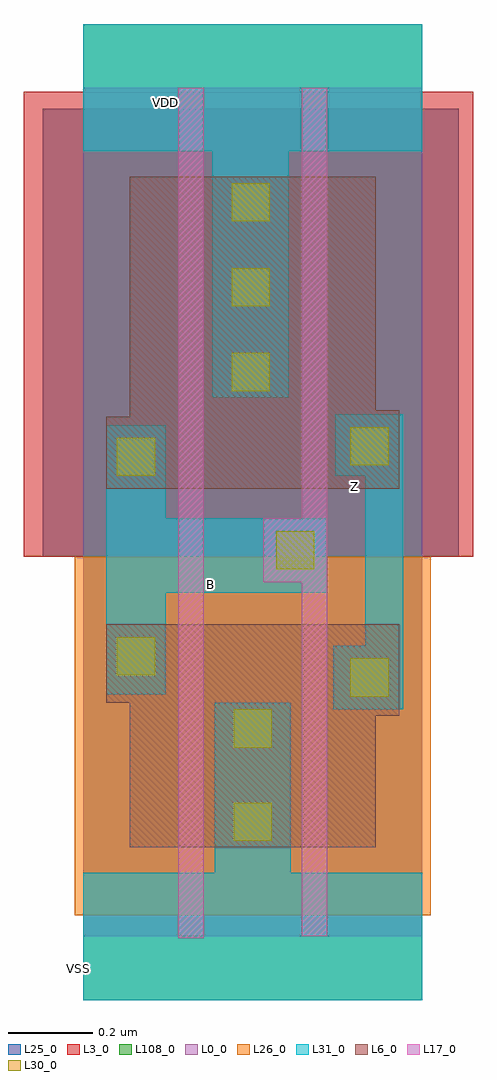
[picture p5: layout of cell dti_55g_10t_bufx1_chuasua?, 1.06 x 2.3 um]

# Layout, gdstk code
from math import pi, radians
import gdstk
lib = gdstk.Library(unit=1e-6, precision=1e-09)
def R(c, l, rs):  # rectangles x0, y0, x1, y1
    for r in rs: c.add(gdstk.rectangle(r[:2], r[2:], *l))
def P(c, l, *ps):  # polygons
    for p in ps: c.add(gdstk.Polygon(p, *l))
L0_0 = (0, 0)
L3_0 = (3, 0)
L6_0 = (6, 0)
L17_0 = (17, 0)
L25_0 = (25, 0)
L26_0 = (26, 0)
L30_0 = (30, 0)
L31_0 = (31, 0)
L108_0 = (108, 0)
L923_0 = (923, 0)

template_55g_10t_1 = lib.new_cell('template_55g_10t$1')
R(template_55g_10t_1, L31_0, [(0,-0.15,0.2,0.15), (0,1.85,0.2,2.15)])
template_55g_10t_1.add(gdstk.FlexPath([(0.2,0.21),(0,0.21)], 0, ends="flush", simple_path=True, layer=923, datatype=0))  # L923_0
template_55g_10t_1.add(gdstk.FlexPath([(0.2,0.735),(0,0.735)], 0, ends="flush", simple_path=True, layer=923, datatype=0))  # L923_0
template_55g_10t_1.add(gdstk.FlexPath([(0.2,0.895),(0,0.895)], 0, ends="flush", simple_path=True, layer=923, datatype=0))  # L923_0
template_55g_10t_1.add(gdstk.FlexPath([(0.2,1.055),(0,1.055)], 0, ends="flush", simple_path=True, layer=923, datatype=0))  # L923_0
template_55g_10t_1.add(gdstk.FlexPath([(0.2,1.79),(0,1.79)], 0, ends="flush", simple_path=True, layer=923, datatype=0))  # L923_0

cellgrid_nom2_1 = lib.new_cell('cellgrid_noM2$1')
R(cellgrid_nom2_1, L0_0, [(0,0,0.2,0.2)])
cellgrid_nom2_1.add(gdstk.FlexPath([(0.2,0),(0,0.2)], 0, ends="flush", simple_path=True, layer=0, datatype=0))  # L0_0
cellgrid_nom2_1.add(gdstk.FlexPath([(0.2,0.2),(0,0)], 0, ends="flush", simple_path=True, layer=0, datatype=0))  # L0_0

pmos_735_n_2_1 = lib.new_cell('pmos_735_n_2$1')
R(pmos_735_n_2_1, L3_0, [(-0.275,-0.16,0.335,0.895)])
R(pmos_735_n_2_1, L6_0, [(-0.115,0,0.175,0.735)])
R(pmos_735_n_2_1, L17_0, [(0,-0.14,0.06,0.875)])
R(pmos_735_n_2_1, L25_0, [(-0.245,-0.16,0.305,0.895)])

cnt_n_1 = lib.new_cell('cnt_n$1')
R(cnt_n_1, L6_0, [(-0.06,-0.075,0.06,0.075)])
R(cnt_n_1, L30_0, [(-0.045,-0.045,0.045,0.045)])
R(cnt_n_1, L31_0, [(-0.045,-0.045,0.045,0.045)])

nmos_525_n_2_1 = lib.new_cell('nmos_525_n_2$1')
R(nmos_525_n_2_1, L6_0, [(-0.115,0,0.175,0.525)])
R(nmos_525_n_2_1, L17_0, [(0,-0.14,0.06,0.665)])
R(nmos_525_n_2_1, L26_0, [(-0.245,-0.16,0.305,0.685)])

cnt_1 = lib.new_cell('cnt$1')
R(cnt_1, L30_0, [(-0.045,-0.045,0.045,0.045)])
R(cnt_1, L31_0, [(-0.045,-0.045,0.045,0.045)])

pcnt_1 = lib.new_cell('pcnt$1')
R(pcnt_1, L0_0, [(-0.065,-0.065,0.065,0.065)])
R(pcnt_1, L17_0, [(-0.075,-0.075,0.075,0.075)])
pcnt_1.add(gdstk.Reference(cnt_1, (0,0)))

pmos_735_n_2 = lib.new_cell('pmos_735_n_2')
R(pmos_735_n_2, L3_0, [(-0.275,-0.16,0.335,0.895)])
R(pmos_735_n_2, L6_0, [(-0.115,0,0.175,0.735)])
R(pmos_735_n_2, L17_0, [(0,-0.14,0.06,0.875)])
R(pmos_735_n_2, L25_0, [(-0.245,-0.16,0.305,0.895)])

nmos_525_n_2 = lib.new_cell('nmos_525_n_2')
R(nmos_525_n_2, L6_0, [(-0.115,0,0.175,0.525)])
R(nmos_525_n_2, L17_0, [(0,-0.14,0.06,0.665)])
R(nmos_525_n_2, L26_0, [(-0.245,-0.16,0.305,0.685)])

cnt_n = lib.new_cell('cnt_n')
R(cnt_n, L6_0, [(-0.06,-0.075,0.06,0.075)])
R(cnt_n, L30_0, [(-0.045,-0.045,0.045,0.045)])
R(cnt_n, L31_0, [(-0.045,-0.045,0.045,0.045)])

dti_55g_10t_bufx1_chuasu = lib.new_cell('dti_55g_10t_bufx1_chuasua?')
R(dti_55g_10t_bufx1_chuasu, L3_0, [(-0.14,0.895,0.92,1.99)])
R(dti_55g_10t_bufx1_chuasu, L6_0, [(0.69,0.52,0.745,0.735), (0.055,0.55,0.11,0.735), (0.055,1.055,0.11,1.225), (0.69,1.055,0.745,1.24)])
P(dti_55g_10t_bufx1_chuasu, L6_0, [(0.7,1.12),(0.7,1.12),(0.73,1.12),(0.73,1.12)])
R(dti_55g_10t_bufx1_chuasu, L17_0, [(0.225,-0.005,0.285,0.07), (0.515,0,0.575,0.07), (0.225,0.875,0.285,0.915), (0.515,0.875,0.575,0.915), (0.225,1.93,0.285,2), (0.515,1.93,0.575,2)])
R(dti_55g_10t_bufx1_chuasu, L25_0, [(-0.095,0.895,0.885,1.95), (-0.06,0.895,0.66,1.95), (0,0.895,0.6,1.95)])
R(dti_55g_10t_bufx1_chuasu, L26_0, [(0,0.15,0.6,0.895)])
R(dti_55g_10t_bufx1_chuasu, L31_0, [(0.31,0.15,0.49,0.55), (0.59,0.535,0.755,0.685), (0.055,0.57,0.195,1.205), (0.665,0.655,0.755,1.1), (0.195,0.81,0.575,0.985), (0.595,1.085,0.755,1.23), (0.305,1.27,0.485,1.85)])
R(dti_55g_10t_bufx1_chuasu, L108_0, [(0,-0.15,0.8,2.15)])
r = gdstk.Reference(template_55g_10t_1, (0,0)); r.repetition = gdstk.Repetition(4, 1, v1=(0.2,0), v2=(0,0)); dti_55g_10t_bufx1_chuasu.add(r)
r = gdstk.Reference(cellgrid_nom2_1, (0,0)); r.repetition = gdstk.Repetition(4, 10, v1=(0.2,0), v2=(0,0.2)); dti_55g_10t_bufx1_chuasu.add(r)
dti_55g_10t_bufx1_chuasu.add(gdstk.Reference(pmos_735_n_2_1, (0.515,1.055)))
dti_55g_10t_bufx1_chuasu.add(gdstk.Reference(cnt_n_1, (0.395,1.73), rotation=pi/2))
dti_55g_10t_bufx1_chuasu.add(gdstk.Reference(cnt_n_1, (0.675,0.61), rotation=pi))
dti_55g_10t_bufx1_chuasu.add(gdstk.Reference(cnt_n_1, (0.395,1.53)))
dti_55g_10t_bufx1_chuasu.add(gdstk.Reference(nmos_525_n_2_1, (0.515,0.21)))
dti_55g_10t_bufx1_chuasu.add(gdstk.Reference(cnt_n_1, (0.4,0.27), rotation=pi/2))
dti_55g_10t_bufx1_chuasu.add(gdstk.Reference(cnt_n_1, (0.4,0.49), rotation=pi/2))
dti_55g_10t_bufx1_chuasu.add(gdstk.Reference(cnt_n_1, (0.675,1.155), rotation=pi))
dti_55g_10t_bufx1_chuasu.add(gdstk.Reference(cnt_n_1, (0.395,1.33), rotation=3*pi/2))
dti_55g_10t_bufx1_chuasu.add(gdstk.Reference(pcnt_1, (0.5,0.91)))
dti_55g_10t_bufx1_chuasu.add(gdstk.Reference(pmos_735_n_2, (0.225,1.055)))
dti_55g_10t_bufx1_chuasu.add(gdstk.Reference(nmos_525_n_2, (0.225,0.21)))
dti_55g_10t_bufx1_chuasu.add(gdstk.Reference(cnt_n, (0.125,1.13)))
dti_55g_10t_bufx1_chuasu.add(gdstk.Reference(cnt_n, (0.125,0.66)))
dti_55g_10t_bufx1_chuasu.add(gdstk.Label('VDD', (0.195,1.965), layer=131, texttype=0))
dti_55g_10t_bufx1_chuasu.add(gdstk.Label('Z', (0.64,1.06), layer=131, texttype=0))
dti_55g_10t_bufx1_chuasu.add(gdstk.Label('B', (0.3,0.83), layer=131, texttype=0))
dti_55g_10t_bufx1_chuasu.add(gdstk.Label('VSS', (-0.01,-0.075), layer=131, texttype=0))

lib.write_gds('dti_55g_10t_bufx1_chuasua_.gds')
